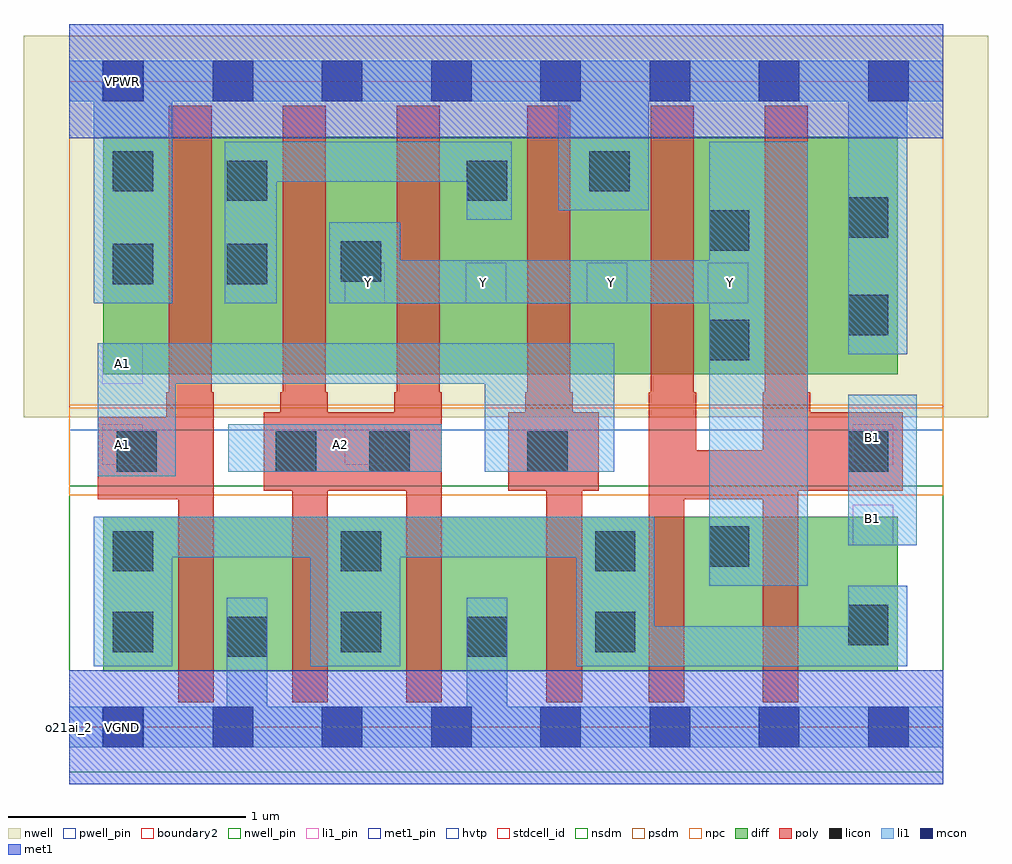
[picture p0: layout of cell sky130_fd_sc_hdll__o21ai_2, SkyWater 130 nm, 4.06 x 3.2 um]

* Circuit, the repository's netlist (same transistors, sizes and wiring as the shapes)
* Copyright 2020 The SkyWater PDK Authors
*
* Licensed under the Apache License, Version 2.0 (the "License");
* you may not use this file except in compliance with the License.
* You may obtain a copy of the License at
*
*     https://www.apache.org/licenses/LICENSE-2.0
*
* Unless required by applicable law or agreed to in writing, software
* distributed under the License is distributed on an "AS IS" BASIS,
* WITHOUT WARRANTIES OR CONDITIONS OF ANY KIND, either express or implied.
* See the License for the specific language governing permissions and
* limitations under the License.
*
* SPDX-License-Identifier: Apache-2.0

.SUBCKT sky130_fd_sc_hdll__o21ai_2 A1 A2 B1 VGND VNB VPB VPWR Y
*.PININFO A1:I A2:I B1:I VGND:I VNB:I VPB:I VPWR:I Y:O
MMPA0 VPWR A1 sndA1 VPB sky130_fd_pr__pfet_01v8_hvt m=2 w=1.0U l=0.18U mult=1 sa=0.265
+ sb=0.265 sd=0.28 area=0.063 perim=1.14
MMPA1 sndA1 A2 Y VPB sky130_fd_pr__pfet_01v8_hvt m=2 w=1.0U l=0.18U mult=1 sa=0.265
+ sb=0.265 sd=0.28 area=0.063 perim=1.14
MMPB0 VPWR B1 Y VPB sky130_fd_pr__pfet_01v8_hvt m=2 w=1.0U l=0.18U mult=1 sa=0.265
+ sb=0.265 sd=0.28 area=0.063 perim=1.14
MMNA0 pndA A1 VGND VNB sky130_fd_pr__nfet_01v8 m=2 w=0.65U l=0.15U mult=1 sa=0.265
+ sb=0.265 sd=0.28 area=0.063 perim=1.14
MMNA1 pndA A2 VGND VNB sky130_fd_pr__nfet_01v8 m=2 w=0.65U l=0.15U mult=1 sa=0.265
+ sb=0.265 sd=0.28 area=0.063 perim=1.14
MMNB0 Y B1 pndA VNB sky130_fd_pr__nfet_01v8 m=2 w=0.65U l=0.15U mult=1 sa=0.265
+ sb=0.265 sd=0.28 area=0.063 perim=1.14
.ENDS sky130_fd_sc_hdll__o21ai_2

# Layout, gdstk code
import gdstk
lib = gdstk.Library(unit=1e-6, precision=1e-09)
def R(c, l, rs):  # rectangles x0, y0, x1, y1
    for r in rs: c.add(gdstk.rectangle(r[:2], r[2:], *l))
def A(c, l, x, y, w, h, nx, ny, dx, dy):  # array of equal rectangles
    R(c, l, [(x+i*dx, y+j*dy, x+i*dx+w, y+j*dy+h) for i in range(nx) for j in range(ny)])
def P(c, l, *ps):  # polygons
    for p in ps: c.add(gdstk.Polygon(p, *l))
nwell_pin = (64, 16)
nwell = (64, 20)
diff = (65, 20)
poly = (66, 20)
licon = (66, 44)
li1_pin = (67, 16)
li1 = (67, 20)
mcon = (67, 44)
met1_pin = (68, 16)
met1 = (68, 20)
hvtp = (78, 44)
stdcell_id = (81, 4)
nsdm = (93, 44)
psdm = (94, 20)
npc = (95, 20)
pwell_pin = (122, 16)
boundary2 = (236, 0)

sky130_fd_sc_hdll__o21ai = lib.new_cell('sky130_fd_sc_hdll__o21ai_2')
R(sky130_fd_sc_hdll__o21ai, nwell_pin, [(0.14,2.635,0.31,2.805)])
R(sky130_fd_sc_hdll__o21ai, nwell, [(-0.19,1.305,3.87,2.91)])
R(sky130_fd_sc_hdll__o21ai, diff, [(0.145,0.235,3.49,0.885), (0.145,1.485,3.49,2.485)])
P(sky130_fd_sc_hdll__o21ai, poly, [(0.61,1.41),(0.6,1.41),(0.6,2.615),(0.42,2.615),(0.42,1.41),(0.41,1.41),(0.41,1.305),(0.12,1.305),(0.12,0.96),(0.46,0.96),(0.46,0.105),(0.61,0.105)],
  [(1.57,1.41),(1.56,1.41),(1.56,2.615),(1.38,2.615),(1.38,1.41),(1.37,1.41),(1.37,1.325),(1.09,1.325),(1.09,1.41),(1.08,1.41),(1.08,2.615),(0.9,2.615),(0.9,1.41),(0.89,1.41),(0.89,1.325),(0.82,1.325),(0.82,0.995),(0.94,0.995),(0.94,0.105),(1.09,0.105),(1.09,0.995),(1.42,0.995),(1.42,0.105),(1.57,0.105)],
  [(2.23,1.325),(2.12,1.325),(2.12,1.41),(2.11,1.41),(2.11,2.615),(1.93,2.615),(1.93,1.41),(1.92,1.41),(1.92,1.325),(1.85,1.325),(1.85,0.995),(2.01,0.995),(2.01,0.105),(2.16,0.105),(2.16,0.995),(2.23,0.995)],
  [(3.51,1.325),(3.12,1.325),(3.12,1.41),(3.11,1.41),(3.11,2.615),(2.93,2.615),(2.93,1.41),(2.92,1.41),(2.92,1.165),(2.64,1.165),(2.64,1.41),(2.63,1.41),(2.63,2.615),(2.45,2.615),(2.45,1.41),(2.44,1.41),(2.44,0.105),(2.59,0.105),(2.59,0.96),(2.92,0.96),(2.92,0.105),(3.07,0.105),(3.07,0.995),(3.51,0.995)])
R(sky130_fd_sc_hdll__o21ai, licon, [(0.665,0.295,0.835,0.465), (1.675,0.295,1.845,0.465), (0.185,0.315,0.355,0.485), (1.145,0.315,1.315,0.485), (2.215,0.315,2.385,0.485), (3.28,0.345,3.45,0.515), (0.185,0.655,0.355,0.825), (1.145,0.655,1.315,0.825), (2.215,0.655,2.385,0.825), (2.695,0.675,2.865,0.845), (0.2,1.075,0.37,1.245), (0.87,1.075,1.04,1.245), (1.265,1.075,1.435,1.245), (1.93,1.075,2.1,1.245), (3.28,1.075,3.45,1.245), (2.695,1.545,2.865,1.715), (3.28,1.65,3.45,1.82), (0.185,1.865,0.355,2.035), (0.665,1.865,0.835,2.035), (1.145,1.875,1.315,2.045), (2.695,2.005,2.865,2.175), (3.28,2.06,3.45,2.23), (0.665,2.215,0.835,2.385), (1.675,2.215,1.845,2.385), (0.185,2.255,0.355,2.425), (2.19,2.255,2.36,2.425)])
A(sky130_fd_sc_hdll__o21ai, li1_pin, 1.16, 1.785, 0.17, 0.17, 4, 1, 0.51, 0)
R(sky130_fd_sc_hdll__o21ai, li1_pin, [(3.3,0.765,3.47,0.935), (0.14,1.105,0.31,1.275), (1.16,1.105,1.33,1.275), (3.3,1.105,3.47,1.275), (0.14,1.445,0.31,1.615)])
R(sky130_fd_sc_hdll__o21ai, li1, [(3.28,0.765,3.57,1.4), (0.67,1.075,1.57,1.275)])
P(sky130_fd_sc_hdll__o21ai, li1, [(3.68,0.085),(1.845,0.085),(1.845,0.545),(1.675,0.545),(1.675,0.085),(0.835,0.085),(0.835,0.545),(0.665,0.545),(0.665,0.085),(0,0.085),(0,-0.085),(3.68,-0.085)],
  [(3.68,2.805),(0,2.805),(0,2.635),(0.105,2.635),(0.105,1.785),(0.435,1.785),(0.435,2.635),(2.06,2.635),(2.06,2.175),(2.44,2.175),(2.44,2.635),(3.28,2.635),(3.28,1.57),(3.53,1.57),(3.53,2.635),(3.68,2.635)],
  [(1.865,2.465),(0.655,2.465),(0.655,1.785),(0.875,1.785),(0.875,2.295),(1.675,2.295),(1.675,2.135),(1.865,2.135)],
  [(2.295,1.615),(0.12,1.615),(0.12,1.055),(0.45,1.055),(0.45,1.445),(1.75,1.445),(1.75,1.075),(2.295,1.075)],
  [(3.11,2.465),(2.695,2.465),(2.695,1.965),(1.395,1.965),(1.395,2.125),(1.095,2.125),(1.095,1.785),(2.695,1.785),(2.695,0.595),(3.11,0.595)],
  [(3.53,0.595),(3.28,0.595),(3.28,0.425),(2.465,0.425),(2.465,0.885),(0.105,0.885),(0.105,0.255),(0.435,0.255),(0.435,0.715),(1.015,0.715),(1.015,0.255),(1.395,0.255),(1.395,0.715),(2.135,0.715),(2.135,0.255),(3.53,0.255)])
A(sky130_fd_sc_hdll__o21ai, mcon, 0.145, -0.085, 0.17, 0.17, 8, 2, 0.46, 2.72)
R(sky130_fd_sc_hdll__o21ai, met1_pin, [(0.14,-0.085,0.31,0.085), (0.14,2.635,0.31,2.805)])
R(sky130_fd_sc_hdll__o21ai, met1, [(0,-0.24,3.68,0.24), (0,2.48,3.68,2.96)])
R(sky130_fd_sc_hdll__o21ai, hvtp, [(0,1.25,3.68,2.72)])
R(sky130_fd_sc_hdll__o21ai, stdcell_id, [(0,0,3.68,2.72)])
R(sky130_fd_sc_hdll__o21ai, nsdm, [(0,-0.19,3.68,1.015)])
R(sky130_fd_sc_hdll__o21ai, psdm, [(0,1.355,3.68,2.91)])
R(sky130_fd_sc_hdll__o21ai, npc, [(0,0.975,3.68,1.345)])
R(sky130_fd_sc_hdll__o21ai, pwell_pin, [(0.14,-0.085,0.31,0.085)])
R(sky130_fd_sc_hdll__o21ai, boundary2, [(0,0,3.68,2.72)])
sky130_fd_sc_hdll__o21ai.add(gdstk.Label('B1', (3.385,0.88), layer=67, texttype=5))
sky130_fd_sc_hdll__o21ai.add(gdstk.Label('Y', (2.785,1.87), layer=67, texttype=5))
sky130_fd_sc_hdll__o21ai.add(gdstk.Label('Y', (2.285,1.87), layer=67, texttype=5))
sky130_fd_sc_hdll__o21ai.add(gdstk.Label('Y', (1.745,1.87), layer=67, texttype=5))
sky130_fd_sc_hdll__o21ai.add(gdstk.Label('A2', (1.145,1.19), layer=67, texttype=5))
sky130_fd_sc_hdll__o21ai.add(gdstk.Label('Y', (1.26,1.87), layer=67, texttype=5))
sky130_fd_sc_hdll__o21ai.add(gdstk.Label('A1', (0.225,1.53), layer=67, texttype=5))
sky130_fd_sc_hdll__o21ai.add(gdstk.Label('A1', (0.225,1.19), layer=67, texttype=5))
sky130_fd_sc_hdll__o21ai.add(gdstk.Label('B1', (3.385,1.22), layer=67, texttype=5))
sky130_fd_sc_hdll__o21ai.add(gdstk.Label('VGND', (0.225,0), layer=68, texttype=5))
sky130_fd_sc_hdll__o21ai.add(gdstk.Label('VPWR', (0.225,2.72), layer=68, texttype=5))
sky130_fd_sc_hdll__o21ai.add(gdstk.Label('VPB', (0.225,2.72), layer=64, texttype=5))
sky130_fd_sc_hdll__o21ai.add(gdstk.Label('VNB', (0.225,0), layer=64, texttype=59))
sky130_fd_sc_hdll__o21ai.add(gdstk.Label('o21ai_2', (0,0), layer=83, texttype=44))

lib.write_gds('sky130_fd_sc_hdll__o21ai_2.gds')
